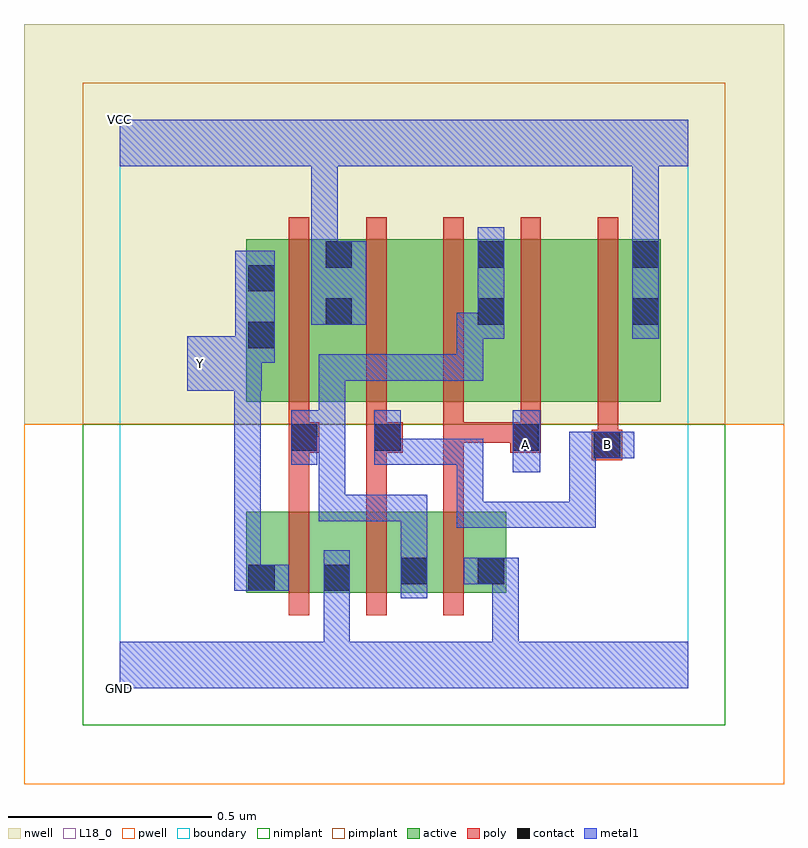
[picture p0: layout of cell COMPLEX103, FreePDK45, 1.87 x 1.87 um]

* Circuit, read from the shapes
.subckt COMPLEX103 A B GND VCC Y
M1 GND n1 Y VSUBS nfet w=0.2u l=0.05u
M2 n1 B GND VSUBS nfet w=0.2u l=0.05u
M3 GND A n1 VSUBS nfet w=0.2u l=0.05u
M4 VCC n1 Y n2 pfet w=0.4u l=0.05u
M5 n3 B VCC n2 pfet w=0.4u l=0.05u
M6 n1 A n3 n2 pfet w=0.4u l=0.05u
M7 n4 A n1 n2 pfet w=0.4u l=0.05u
M8 VCC B n4 n2 pfet w=0.4u l=0.05u
.ends

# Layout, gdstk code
import gdstk
lib = gdstk.Library(unit=1e-6, precision=1e-09)
def R(c, l, rs):  # rectangles x0, y0, x1, y1
    for r in rs: c.add(gdstk.rectangle(r[:2], r[2:], *l))
def A(c, l, x, y, w, h, nx, ny, dx, dy):  # array of equal rectangles
    R(c, l, [(x+i*dx, y+j*dy, x+i*dx+w, y+j*dy+h) for i in range(nx) for j in range(ny)])
active = (1, 0)
pwell = (2, 0)
nwell = (3, 0)
nimplant = (4, 0)
pimplant = (5, 0)
poly = (9, 0)
contact = (10, 0)
metal1 = (11, 0)
L18_0 = (18, 0)
boundary = (235, 0)

complex103 = lib.new_cell('COMPLEX103')
R(complex103, active, [(0.312,0.235,0.387,0.435), (0.312,0.235,0.572,0.435), (0.497,0.235,0.762,0.435), (0.497,0.235,0.572,0.31), (0.687,0.235,0.762,0.435), (0.687,0.235,0.952,0.435), (0.877,0.235,0.952,0.435), (0.312,0.705,0.387,1.105), (0.312,0.705,0.577,1.105), (0.502,0.705,0.577,1.105), (0.502,0.705,0.727,1.105), (0.727,0.705,0.952,1.105), (0.877,0.705,1.107,1.105), (1.107,0.705,1.332,1.105), (1.257,0.705,1.332,1.105), (0.877,0.89,0.952,1.105)])
R(complex103, pwell, [(-0.235,-0.235,1.635,0.65)])
R(complex103, nwell, [(-0.235,0.65,1.635,1.635)])
R(complex103, nimplant, [(-0.09,-0.09,1.49,0.65)])
R(complex103, pimplant, [(-0.09,0.65,1.49,1.49)])
A(complex103, poly, 0.417, 0.18, 0.05, 0.31, 3, 1, 0.19, 0)
A(complex103, poly, 0.417, 0.605, 0.05, 0.095, 4, 1, 0.19, 0)
A(complex103, poly, 0.417, 0.65, 0.05, 0.51, 5, 1, 0.19, 0)
R(complex103, poly, [(0.417,0.44,0.467,0.63), (0.607,0.44,0.657,0.63), (0.797,0.44,0.847,0.655), (1.162,0.562,1.237,0.637), (0.417,0.58,0.492,0.655), (0.607,0.58,0.697,0.655), (0.962,0.58,1.037,0.655), (1.177,0.587,1.227,0.7), (0.797,0.605,1.012,0.655), (0.797,0.605,0.847,0.655), (0.797,0.605,0.847,0.655), (0.797,0.605,0.847,0.655)])
R(complex103, contact, [(0.317,0.24,0.382,0.305), (0.502,0.24,0.567,0.305), (0.692,0.257,0.757,0.322), (0.882,0.257,0.947,0.322), (1.167,0.567,1.232,0.632), (0.422,0.585,0.487,0.65), (0.627,0.585,0.692,0.65), (0.967,0.585,1.032,0.65), (0.317,0.837,0.382,0.902), (0.507,0.895,0.572,0.96), (0.882,0.895,0.947,0.96), (1.262,0.895,1.327,0.96), (0.317,0.977,0.382,1.042), (0.507,1.035,0.572,1.1), (0.882,1.035,0.947,1.1), (1.262,1.035,1.327,1.1)])
R(complex103, metal1, [(0,0,1.4,0.115), (0.502,0.05,0.567,0.27), (0.917,0.05,0.982,0.322), (0.502,0.205,0.567,0.27), (0.502,0.205,0.567,0.27), (0.502,0.205,0.567,0.27), (0.502,0.205,0.567,0.27), (0.502,0.205,0.567,0.34), (0.692,0.222,0.757,0.357), (0.282,0.24,0.417,0.305), (0.282,0.24,0.347,0.797), (0.847,0.257,0.982,0.322), (0.917,0.257,0.982,0.322), (0.917,0.257,0.982,0.322), (0.917,0.257,0.982,0.322), (0.917,0.257,0.982,0.322), (0.692,0.292,0.757,0.357), (0.692,0.292,0.757,0.477), (0.83,0.395,0.895,0.46), (0.83,0.395,1.032,0.46), (0.83,0.395,0.895,0.615), (0.967,0.395,1.032,0.46), (0.967,0.395,1.172,0.46), (1.107,0.395,1.172,0.46), (1.107,0.395,1.172,0.632), (0.49,0.412,0.555,0.477), (0.49,0.412,0.757,0.477), (0.49,0.412,0.555,0.685), (0.967,0.532,1.035,0.685), (0.422,0.55,0.487,0.685), (0.627,0.55,0.692,0.615), (0.627,0.55,0.692,0.615), (0.627,0.55,0.895,0.615), (0.627,0.55,0.692,0.685), (0.83,0.55,0.895,0.615), (0.83,0.55,0.895,0.615), (0.83,0.55,0.895,0.615), (1.107,0.567,1.172,0.632), (1.107,0.567,1.197,0.632), (1.132,0.567,1.267,0.632), (0.422,0.62,0.555,0.685), (0.49,0.62,0.555,0.685), (0.49,0.62,0.555,0.822), (0.167,0.732,0.35,0.867), (0.49,0.757,0.555,0.822), (0.49,0.757,0.705,0.822), (0.64,0.757,0.705,0.822), (0.64,0.757,0.705,0.822), (0.64,0.757,0.705,0.822), (0.64,0.757,0.895,0.822), (0.83,0.757,0.895,0.925), (0.285,0.802,0.35,0.867), (0.285,0.802,0.382,1.077), (0.83,0.86,0.947,0.925), (0.882,0.86,0.947,1.135), (1.262,0.86,1.327,1.135), (0.472,0.895,0.607,1.1), (0.472,1.035,0.537,1.1), (0.472,1.035,0.537,1.1), (0.472,1.035,0.537,1.35), (1.262,1.07,1.327,1.35), (0,1.285,1.4,1.4), (1.262,1.285,1.327,1.35), (1.262,1.285,1.327,1.35)])
R(complex103, L18_0, [(0,0,1.4,0.115), (0.502,0.05,0.567,0.27), (0.917,0.05,0.982,0.322), (0.502,0.205,0.567,0.27), (0.502,0.205,0.567,0.27), (0.502,0.205,0.567,0.27), (0.502,0.205,0.567,0.27), (0.502,0.205,0.567,0.34), (0.282,0.24,0.417,0.305), (0.282,0.24,0.347,0.797), (0.847,0.257,0.982,0.322), (0.917,0.257,0.982,0.322), (0.917,0.257,0.982,0.322), (0.917,0.257,0.982,0.322), (0.917,0.257,0.982,0.322), (0.83,0.395,0.895,0.46), (0.83,0.395,0.895,0.615), (0.83,0.395,1.032,0.46), (0.967,0.395,1.032,0.46), (0.967,0.395,1.172,0.46), (1.107,0.395,1.172,0.46), (1.107,0.395,1.172,0.632), (0.967,0.532,1.035,0.685), (0.627,0.55,0.692,0.615), (0.627,0.55,0.692,0.615), (0.627,0.55,0.692,0.685), (0.627,0.55,0.895,0.615), (0.83,0.55,0.895,0.615), (0.83,0.55,0.895,0.615), (0.83,0.55,0.895,0.615), (0.967,0.567,1.032,0.632), (1.107,0.567,1.172,0.632), (1.107,0.567,1.197,0.632), (1.132,0.567,1.267,0.632), (1.167,0.567,1.232,0.632), (0.167,0.732,0.35,0.867), (0.167,0.767,0.232,0.832), (0.285,0.802,0.382,1.077), (0.285,0.802,0.35,0.867), (1.262,0.86,1.327,1.135), (0.472,0.895,0.607,1.1), (0.472,1.035,0.537,1.1), (0.472,1.035,0.537,1.1), (0.472,1.035,0.537,1.35), (1.262,1.07,1.327,1.35), (0,1.285,1.4,1.4), (1.262,1.285,1.327,1.35), (1.262,1.285,1.327,1.35)])
R(complex103, boundary, [(0,0,1.4,1.4)])
complex103.add(gdstk.Label('A', (1,0.6), layer=11, texttype=0))
complex103.add(gdstk.Label('B', (1.2,0.6), layer=11, texttype=0))
complex103.add(gdstk.Label('Y', (0.2,0.8), layer=11, texttype=0))
complex103.add(gdstk.Label('VCC', (0,1.4), layer=11, texttype=0))
complex103.add(gdstk.Label('GND', (0,0), layer=11, texttype=0))

lib.write_gds('COMPLEX103.gds')
